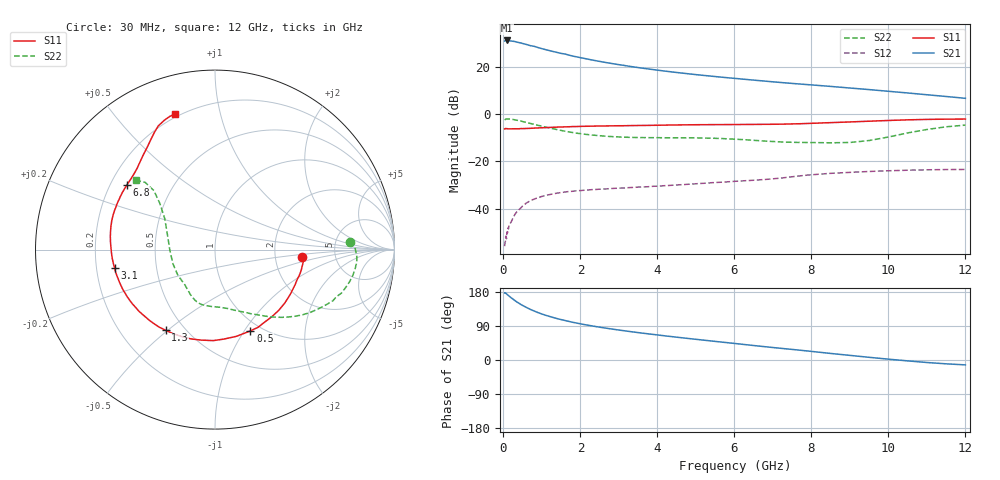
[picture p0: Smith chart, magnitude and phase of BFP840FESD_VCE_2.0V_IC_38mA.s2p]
! Infineon Technologies  Discrete & RF Semiconductors
! BFP840FESD
! VCE =  2.0 V,  IC =  38 mA
! Common Emitter S-Parameters:  May 2012
# GHz  S  MA  R  50
!  f  S11  S21  S12  S22
! GHz  MAG  ANG  MAG  ANG  MAG  ANG  MAG  ANG
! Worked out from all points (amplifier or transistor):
!   103 points, 30 MHz to 12 GHz, reference 50 ohm
!   highest |S21| = 31.2 dB at 80 MHz (marker M1)
!   |S21| within 3 dB of that: start of sweep to 896.9 MHz
!   unconditionally stable (mu >= 1): start of sweep to 148.1 MHz; 3.197 GHz to end of sweep
!   at 400 MHz: K = 0.61, MSG = 35.4 dB, |S12| = -40.5 dB
!   at 3.7 GHz: K = 1.08, MAG = 23.3 dB, |S12| = -30.8 dB
!   at 12 GHz: K = 1.22, MAG = 12.3 dB, |S12| = -23.4 dB
!   S11 on the Smith chart (normalised r, x): 30 MHz: 2.86, -0.32; 500 MHz: 0.89, -1.07; 1.3 GHz: 0.39, -0.49; 3.1 GHz: 0.28, -0.08; 6.8 GHz: 0.27, +0.31; 12 GHz: 0.18, +0.73
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0.03  0.4873 -5.0  35.38 176.9  0.0016 75.2  0.752 3.4
0.04  0.4883 -6.5  35.53 176.3  0.0019 69.4  0.7654 2.3
0.05  0.4963 -7.9  36.15 177.2  0.002 65.5  0.7747 1.2
0.08  0.4943 -12.5  36.38 174.4  0.0023 52.4  0.7877 -1.7
0.2  0.4879 -30.6  35.35 164.2  0.0052 69.0  0.7817 -10.5
0.3  0.4907 -43.7  34.45 156.7  0.0076 65.9  0.7576 -16.3
0.45  0.4949 -61.1  32.28 146.6  0.0103 62.9  0.7159 -23.5
0.5  0.4938 -66.4  31.34 143.9  0.0114 62.0  0.6963 -25.8
0.7  0.5011 -84.6  28.22 133.5  0.0147 56.8  0.6359 -33.4
0.8  0.5072 -91.2  27.33 129.2  0.0159 54.6  0.608 -36.7
1  0.5157 -105.5  24.37 121.3  0.0181 50.4  0.5547 -42.6
1.3  0.5271 -121.5  21.11 111.9  0.0206 45.9  0.4884 -50.1
1.7  0.5406 -137.3  17.8 101.8  0.023 41.3  0.4202 -58.8
2.1  0.5528 -149.4  15.15 93.5  0.0245 39.0  0.3765 -66.7
2.6  0.562 -160.8  12.65 85.0  0.026 37.9  0.3443 -75.1
3.1  0.5683 -169.7  10.89 77.7  0.0273 37.9  0.3267 -82.4
4.1  0.5844 175.5  8.354 64.9  0.0302 39.5  0.3169 -94.9
6.1  0.603 152.2  5.641 42.6  0.0382 42.7  0.2925 -115.9
6.8  0.6093 143.5  5.002 35.0  0.0414 44.3  0.2694 -124.9
8.5  0.6615 127.2  3.868 17.3  0.0558 40.7  0.2473 -161.7
10.5  0.7578 114.7  2.81 -2.3  0.065 31.2  0.4003 140.1
12  0.7877 106.3  2.165 -12.9  0.0674 27.0  0.5864 138.7
